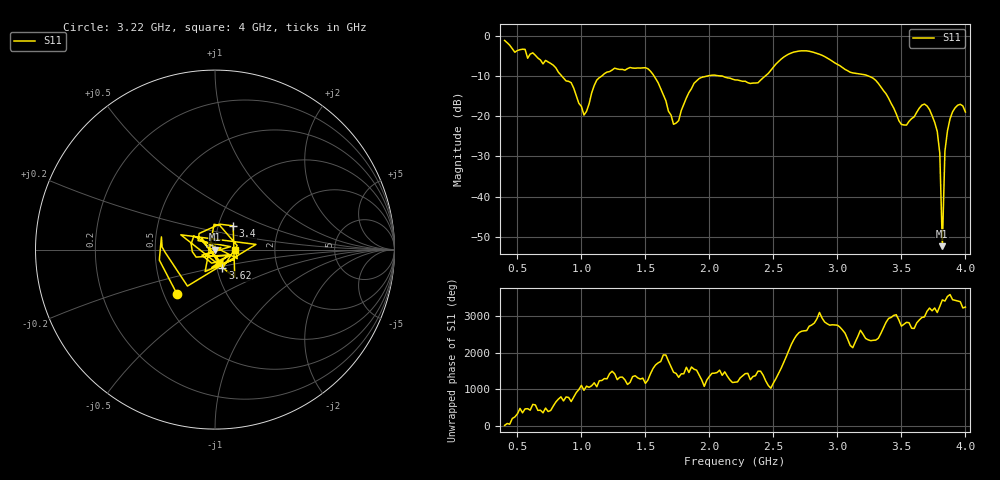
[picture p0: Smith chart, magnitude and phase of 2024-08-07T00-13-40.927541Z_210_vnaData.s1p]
!Created with skrf (http://scikit-rf.org).
# Hz S RI R 50.0
!freq ReS11 ImS11
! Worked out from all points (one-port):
!   181 points, 400 MHz to 4 GHz, reference 50 ohm
!   lowest |S11| = -52.3 dB at 3.82 GHz (marker M1), VSWR 1.00, Z = 49.8 - j0.0648 ohm
!   |S11| at or under -10 dB: 1.567 GHz to 1.987 GHz (420.3 MHz wide, 23.7 % of centre); 2.079 GHz to 2.438 GHz (358.9 MHz wide, 15.9 % of centre); 3.239 GHz to end of sweep (the widest 3 of 4)
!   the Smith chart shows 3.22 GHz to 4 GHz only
!   S11 on the Smith chart (normalised r, x): 3.22 GHz: 0.58, -0.32; 3.4 GHz: 1.18, +0.32; 3.62 GHz: 1.06, -0.22; 4 GHz: 1.25, -0.00
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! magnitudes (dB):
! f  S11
! 400 MHz  -1.2
! 860 MHz  -10.6
! 920 MHz  -11.7
! 1.02 GHz  -19.7
! 1.12 GHz  -11.1
! 1.3 GHz  -8.4
! 1.52 GHz  -8.2
! 1.6 GHz  -11.7
! 1.72 GHz  -22.0
! 1.76 GHz  -21.1
! 1.92 GHz  -10.7
! 2.2 GHz  -11.0
! 2.38 GHz  -11.7
! 2.66 GHz  -4.1
! 3.1 GHz  -9.1
! 3.22 GHz  -9.8
! 3.4 GHz  -15.6
! 3.5 GHz  -22.1
! 3.56 GHz  -21.3
! 3.62 GHz  -19.0
! 3.7 GHz  -17.5
! 3.78 GHz  -23.8
! 3.8 GHz  -29.2
! 3.82 GHz  -52.3
! 3.84 GHz  -28.7
! 3.86 GHz  -23.7
! 3.92 GHz  -17.9
! 4 GHz  -19.0
